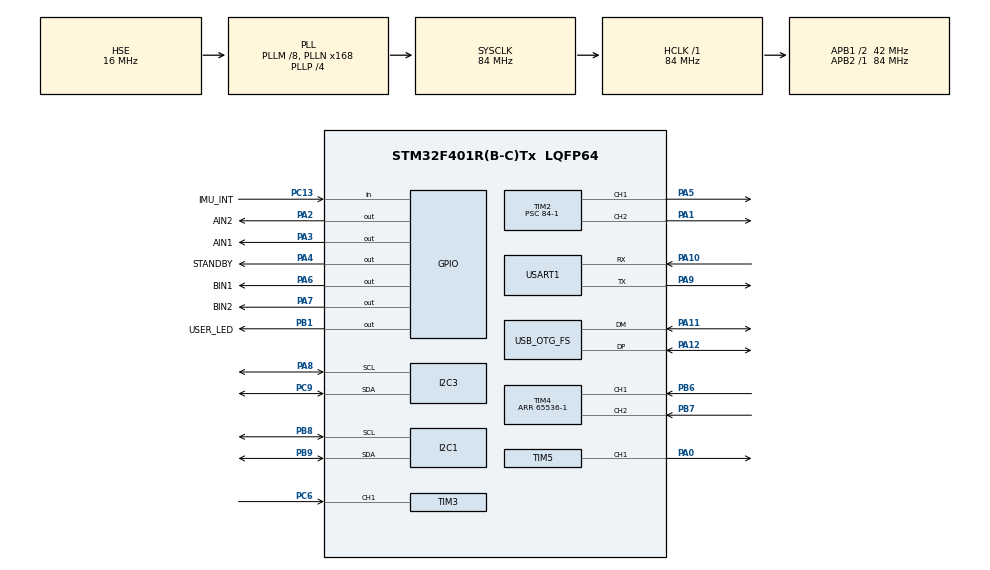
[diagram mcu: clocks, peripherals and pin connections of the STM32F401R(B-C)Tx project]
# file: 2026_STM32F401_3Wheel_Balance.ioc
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Dma.Request0=TIM5_CH1
Dma.TIM5_CH1.0.Direction=DMA_MEMORY_TO_PERIPH
Dma.TIM5_CH1.0.FIFOMode=DMA_FIFOMODE_DISABLE
Dma.TIM5_CH1.0.Instance=DMA1_Stream2
Dma.TIM5_CH1.0.MemDataAlignment=DMA_MDATAALIGN_WORD
Dma.TIM5_CH1.0.MemInc=DMA_MINC_ENABLE
Dma.TIM5_CH1.0.Mode=DMA_NORMAL
Dma.TIM5_CH1.0.PeriphDataAlignment=DMA_PDATAALIGN_WORD
Dma.TIM5_CH1.0.PeriphInc=DMA_PINC_DISABLE
Dma.TIM5_CH1.0.Priority=DMA_PRIORITY_HIGH
Mcu.Family=STM32F4
Mcu.Name=STM32F401R(B-C)Tx
Mcu.Package=LQFP64
NVIC.DMA1_Stream2_IRQn=true\:0\:0\:false\:false\:true\:false\:true\:true
NVIC.PriorityGroup=NVIC_PRIORITYGROUP_4
NVIC.TIM3_IRQn=true\:0\:0\:false\:false\:true\:true\:true\:true
NVIC.USART1_IRQn=true\:0\:0\:false\:false\:true\:true\:true\:true
PA0-WKUP.Signal=S_TIM5_CH1
PA1.Signal=S_TIM2_CH2
PA10.Mode=Asynchronous
PA10.Signal=USART1_RX
PA11.Mode=Device_Only
PA11.Signal=USB_OTG_FS_DM
PA12.Mode=Device_Only
PA12.Signal=USB_OTG_FS_DP
PA13.Mode=Serial_Wire
PA13.Signal=SYS_JTMS-SWDIO
PA14.Mode=Serial_Wire
PA14.Signal=SYS_JTCK-SWCLK
PA2.GPIO_Label=AIN2
PA2.Signal=GPIO_Output
PA3.GPIO_Label=AIN1
PA3.Signal=GPIO_Output
PA4.GPIO_Label=STANDBY
PA4.Signal=GPIO_Output
PA5.Signal=S_TIM2_CH1_ETR
PA6.GPIO_Label=BIN1
PA6.Signal=GPIO_Output
PA7.GPIO_Label=BIN2
PA7.Signal=GPIO_Output
PA8.Mode=I2C
PA8.Signal=I2C3_SCL
PA9.Mode=Asynchronous
PA9.Signal=USART1_TX
PB1.GPIO_Label=USER_LED
PB1.Signal=GPIO_Output
PB6.Signal=S_TIM4_CH1
PB7.Signal=S_TIM4_CH2
PB8.Mode=I2C
PB8.Signal=I2C1_SCL
PB9.Mode=I2C
PB9.Signal=I2C1_SDA
PC13-ANTI_TAMP.GPIO_Label=IMU_INT
PC13-ANTI_TAMP.Signal=GPIO_Input
PC6.Signal=S_TIM3_CH1
PC9.Mode=I2C
PC9.Signal=I2C3_SDA
PH0\ -\ OSC_IN.Mode=HSE-External-Oscillator
PH0\ -\ OSC_IN.Signal=RCC_OSC_IN
PH1\ -\ OSC_OUT.Mode=HSE-External-Oscillator
PH1\ -\ OSC_OUT.Signal=RCC_OSC_OUT
ProjectManager.HeapSize=0x200
ProjectManager.StackSize=0x400
ProjectManager.TargetToolchain=STM32CubeIDE
RCC.48MHZClocksFreq_Value=48000000
RCC.AHBFreq_Value=84000000
RCC.APB1CLKDivider=RCC_HCLK_DIV2
RCC.APB1Freq_Value=42000000
RCC.APB1TimFreq_Value=84000000
RCC.APB2Freq_Value=84000000
RCC.APB2TimFreq_Value=84000000
RCC.CortexFreq_Value=84000000
RCC.HCLKFreq_Value=84000000
RCC.HSE_VALUE=16000000
RCC.HSI_VALUE=16000000
RCC.LSE_VALUE=32768
RCC.PLLM=8
RCC.PLLN=168
RCC.PLLP=RCC_PLLP_DIV4
RCC.PLLQ=7
RCC.SYSCLKFreq_VALUE=84000000
RCC.SYSCLKSource=RCC_SYSCLKSOURCE_PLLCLK
RCC.VCOOutputFreq_Value=336000000
SH.S_TIM2_CH1_ETR.0=TIM2_CH1,PWM Generation1 CH1
SH.S_TIM2_CH2.0=TIM2_CH2,PWM Generation2 CH2
SH.S_TIM3_CH1.0=TIM3_CH1,Input_Capture1_from_TI1
SH.S_TIM4_CH1.0=TIM4_CH1,Encoder_Interface
SH.S_TIM4_CH2.0=TIM4_CH2,Encoder_Interface
SH.S_TIM5_CH1.0=TIM5_CH1,PWM Generation1 CH1
TIM2.Channel-PWM\ Generation1\ CH1=TIM_CHANNEL_1
TIM2.Channel-PWM\ Generation2\ CH2=TIM_CHANNEL_2
TIM2.Period=100-1
TIM2.Prescaler=84-1
TIM3.Channel-Input_Capture1_from_TI1=TIM_CHANNEL_1
TIM3.Period=1000-1
TIM3.Prescaler=8400-1
TIM4.EncoderMode=TIM_ENCODERMODE_TI12
TIM4.IC1Polarity=TIM_ICPOLARITY_FALLING
TIM4.IC2Polarity=TIM_ICPOLARITY_FALLING
TIM4.Period=65536-1
TIM5.Channel-PWM\ Generation1\ CH1=TIM_CHANNEL_1
TIM5.Period=105-1
TIM5.Prescaler=1-1
USART1.VirtualMode=VM_ASYNC
USB_OTG_FS.VirtualMode=Device_Only
board=custom

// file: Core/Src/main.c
/* USER CODE BEGIN Header */
/**
  ******************************************************************************
  * @file           : main.c
  * @brief          : Main program body
  ******************************************************************************
  * @attention
  *
  * Copyright (c) 2026 STMicroelectronics.
  * All rights reserved.
  *
  * This software is licensed under terms that can be found in the LICENSE file
  * in the root directory of this software component.
  * If no LICENSE file comes with this software, it is provided AS-IS.
  *
  ******************************************************************************
  */
/* USER CODE END Header */
#include "main.h"

/* USER CODE BEGIN Includes */
#include <stdio.h>  // snprintf

#include "ENGREDU_WS2812.h"
#include "TJ_MPU6050.h"
#include "ENGREDU_TB6612.h"
#include "ENGREDU_MT6701.h"
/* USER CODE END Includes */

I2C_HandleTypeDef hi2c1;
I2C_HandleTypeDef hi2c3;

TIM_HandleTypeDef htim2;
TIM_HandleTypeDef htim3;
TIM_HandleTypeDef htim4;
TIM_HandleTypeDef htim5;
DMA_HandleTypeDef hdma_tim5_ch1;

UART_HandleTypeDef huart1;

PCD_HandleTypeDef hpcd_USB_OTG_FS;

/* USER CODE BEGIN PV */

uint8_t gTMP = 0;

// Simple Scheduler
uint32_t last_led_tick        = 0; // Timestamp of the last LED toggle for blinking
uint32_t last_telemetry_tick  = 0; // Timestamp of the last telemetry transmission for periodic updates

// UART
uint8_t uart_rx_byte; // Buffer for receiving a single byte over UART
volatile uint8_t gUART_Cmd;

char gTelemetry[64];

// MPU6050 + complementary filter
CompFilter_Def gCompFilter;
uint32_t last_imu_tick = 0;

// TB6612

TB6612_Motor gMotorA = {
		.htim = &htim2, // timer for PWM
		.Channel = TIM_CHANNEL_2,
		.IN1_Port = AIN1_GPIO_Port,
		.IN1_Pin = AIN1_Pin,
		.IN2_Port = AIN2_GPIO_Port,
		.IN2_Pin = AIN2_Pin,
		.STBY_Port = STANDBY_GPIO_Port,
		.STBY_Pin = STANDBY_Pin,
		.Offset = 1
};

TB6612_Motor gMotorB = {
		.htim = &htim2, // timer for PWM
		.Channel = TIM_CHANNEL_1,
		.IN1_Port = BIN1_GPIO_Port,
		.IN1_Pin = BIN1_Pin,
		.IN2_Port = BIN2_GPIO_Port,
		.IN2_Pin = BIN2_Pin,
		.STBY_Port = STANDBY_GPIO_Port,
		.STBY_Pin = STANDBY_Pin,
		.Offset = 1
};

// MT6701
MT6701_Handle encoder;

/* USER CODE END PV */

void SystemClock_Config(void);
static void MX_GPIO_Init(void);
static void MX_DMA_Init(void);
static void MX_I2C1_Init(void);
static void MX_I2C3_Init(void);
static void MX_TIM4_Init(void);
static void MX_TIM5_Init(void);
static void MX_USART1_UART_Init(void);
static void MX_USB_OTG_FS_PCD_Init(void);
static void MX_TIM2_Init(void);
static void MX_TIM3_Init(void);

int main(void)
{

  /* USER CODE BEGIN 1 */
	MPU_ConfigTypeDef myMpuConfig;
  /* USER CODE END 1 */

  /* MCU Configuration--------------------------------------------------------*/

  /* Reset of all peripherals, Initializes the Flash interface and the Systick. */
  HAL_Init();

  /* Configure the system clock */
  SystemClock_Config();

  /* Initialize all configured peripherals */
  MX_GPIO_Init();
  MX_DMA_Init();
  MX_I2C1_Init();
  MX_I2C3_Init();
  MX_TIM4_Init();
  MX_TIM5_Init();
  MX_USART1_UART_Init();
  MX_USB_OTG_FS_PCD_Init();
  MX_TIM2_Init();
  MX_TIM3_Init();
  /* USER CODE BEGIN 2 */

  //1. Initialize the MPU6050 module and I2C1
  MPU6050_Init(&hi2c1);
  //2. Configure Accel and Gyro parameters
  myMpuConfig.Accel_Full_Scale = AFS_SEL_4g;
  myMpuConfig.ClockSource = Internal_8MHz;
  myMpuConfig.CONFIG_DLPF = DLPF_184A_188G_Hz;
  myMpuConfig.Gyro_Full_Scale = FS_SEL_500;
  myMpuConfig.Sleep_Mode_Bit = 0;  //1: sleep mode, 0: normal mode
  MPU6050_Config(&myMpuConfig);
  HAL_Delay(50); // gyro needs ~30 ms to stabilize after power-on
  MPU6050_CompFilter_Init(&gCompFilter, 0.995f);

  // Initialize WS2812 LED strip with TIM5 and set pixel color
  WS2812_Init(&htim5);
  WS2812_SetPixel(30, 30, 30);

  // Start UART reception in interrupt mode for 1 byte
  HAL_UART_Receive_IT(&huart1, &uart_rx_byte, 1);

  // Initialize Motors
  TB6612_Init(&gMotorA);  // the other motor (left)
  TB6612_Init(&gMotorB);  // motor with encoder (right)

  TB6612_Brake(&gMotorA);
  TB6612_Brake(&gMotorB);

  // Initialize Encoder
  //1. Initialize MT6701 with I2C3
  MT6701_Init(&encoder, &hi2c3);
  MT6701_SetZero(&encoder);
  //2. Initialize Timer 3 for Encoder
  HAL_TIM_Base_Start_IT(&htim3);

  /* USER CODE END 2 */

  /* Infinite loop */
  /* USER CODE BEGIN WHILE */
  while (1)
  {
	  // TODO
	  uint32_t now = HAL_GetTick(); // Get the current system tick in milliseconds

	  // Toggle the user LED every 100 ms for a blinking effect
	  if (now - last_led_tick >= 100)
	  {
		  last_led_tick = now;
		  HAL_GPIO_TogglePin(USER_LED_GPIO_Port, USER_LED_Pin);
	  }

	  // Read IMU and run complementary filter at 100 Hz (10 ms)
	  if (now - last_imu_tick >= 10)
	  {
		  float dt = (now - last_imu_tick) * 0.001f;
		  last_imu_tick = now;
		  MPU6050_CompFilter_Update(&gCompFilter, dt);
	  }

	  // Send telemetry data every 100 ms
	  if (now - last_telemetry_tick >= 100)
	  {
		  last_telemetry_tick = now;

	      float speed = encoder.velocity_deg_s;  /* encoder-derived wheel speed */
	      float roll  = gCompFilter.roll;  /* side angle */
	      int16_t pitch = gCompFilter.pitch;  /* front angle */
	      int16_t counter = gTMP;  /* counter */

	      int len = snprintf(gTelemetry, sizeof(gTelemetry),
	                         "$%.2f,%.2f,%d,%d\r\n",
	                         speed, roll, pitch, counter);
	      HAL_UART_Transmit_IT(&huart1, (uint8_t *)gTelemetry, len);

	      gTMP = (gTMP + 1) % 20;
	  }

      if (gUART_Cmd != 0)
      {
          switch (gUART_Cmd)
          {
              case 'w':
            	  WS2812_SetPixel(30, 0, 0);
            	  TB6612_Drive(&gMotorA, 30);
            	  TB6612_Drive(&gMotorB, 30);
            	  break;

              case 's':
            	  WS2812_SetPixel(0, 30, 0);
            	  TB6612_Drive(&gMotorA, -30);
            	  TB6612_Drive(&gMotorB, -30);
            	  break;

              case 'a':
            	  WS2812_SetPixel(0, 0, 30);
            	  TB6612_Drive(&gMotorA, 30);
            	  TB6612_Brake(&gMotorB);
            	  break;

              case 'd':
            	  WS2812_SetPixel(30, 30, 0);
            	  TB6612_Brake(&gMotorA);
            	  TB6612_Drive(&gMotorB, 30);
            	  break;

              case 'x':
            	  WS2812_SetPixel(0, 0, 0);
            	  TB6612_Brake(&gMotorA);
            	  TB6612_Brake(&gMotorB);
            	  break;
          }
          gUART_Cmd = 0;
      }

    /* USER CODE END WHILE */

  }
}

void SystemClock_Config(void)
{
  RCC_OscInitTypeDef RCC_OscInitStruct = {0};
  RCC_ClkInitTypeDef RCC_ClkInitStruct = {0};

  /** Configure the main internal regulator output voltage
  */
  __HAL_RCC_PWR_CLK_ENABLE();
  __HAL_PWR_VOLTAGESCALING_CONFIG(PWR_REGULATOR_VOLTAGE_SCALE2);

  /** Initializes the RCC Oscillators according to the specified parameters
  * in the RCC_OscInitTypeDef structure.
  */
  RCC_OscInitStruct.OscillatorType = RCC_OSCILLATORTYPE_HSE;
  RCC_OscInitStruct.HSEState = RCC_HSE_ON;
  RCC_OscInitStruct.PLL.PLLState = RCC_PLL_ON;
  RCC_OscInitStruct.PLL.PLLSource = RCC_PLLSOURCE_HSE;
  RCC_OscInitStruct.PLL.PLLM = 8;
  RCC_OscInitStruct.PLL.PLLN = 168;
  RCC_OscInitStruct.PLL.PLLP = RCC_PLLP_DIV4;
  RCC_OscInitStruct.PLL.PLLQ = 7;
  if (HAL_RCC_OscConfig(&RCC_OscInitStruct) != HAL_OK)
  {
    Error_Handler();
  }

  /** Initializes the CPU, AHB and APB buses clocks
  */
  RCC_ClkInitStruct.ClockType = RCC_CLOCKTYPE_HCLK|RCC_CLOCKTYPE_SYSCLK
                              |RCC_CLOCKTYPE_PCLK1|RCC_CLOCKTYPE_PCLK2;
  RCC_ClkInitStruct.SYSCLKSource = RCC_SYSCLKSOURCE_PLLCLK;
  RCC_ClkInitStruct.AHBCLKDivider = RCC_SYSCLK_DIV1;
  RCC_ClkInitStruct.APB1CLKDivider = RCC_HCLK_DIV2;
  RCC_ClkInitStruct.APB2CLKDivider = RCC_HCLK_DIV1;

  if (HAL_RCC_ClockConfig(&RCC_ClkInitStruct, FLASH_LATENCY_2) != HAL_OK)
  {
    Error_Handler();
  }
}

static void MX_I2C1_Init(void)
{

  hi2c1.Instance = I2C1;
  hi2c1.Init.ClockSpeed = 100000;
  hi2c1.Init.DutyCycle = I2C_DUTYCYCLE_2;
  hi2c1.Init.OwnAddress1 = 0;
  hi2c1.Init.AddressingMode = I2C_ADDRESSINGMODE_7BIT;
  hi2c1.Init.DualAddressMode = I2C_DUALADDRESS_DISABLE;
  hi2c1.Init.OwnAddress2 = 0;
  hi2c1.Init.GeneralCallMode = I2C_GENERALCALL_DISABLE;
  hi2c1.Init.NoStretchMode = I2C_NOSTRETCH_DISABLE;
  if (HAL_I2C_Init(&hi2c1) != HAL_OK)
  {
    Error_Handler();
  }

}

static void MX_I2C3_Init(void)
{

  hi2c3.Instance = I2C3;
  hi2c3.Init.ClockSpeed = 100000;
  hi2c3.Init.DutyCycle = I2C_DUTYCYCLE_2;
  hi2c3.Init.OwnAddress1 = 0;
  hi2c3.Init.AddressingMode = I2C_ADDRESSINGMODE_7BIT;
  hi2c3.Init.DualAddressMode = I2C_DUALADDRESS_DISABLE;
  hi2c3.Init.OwnAddress2 = 0;
  hi2c3.Init.GeneralCallMode = I2C_GENERALCALL_DISABLE;
  hi2c3.Init.NoStretchMode = I2C_NOSTRETCH_DISABLE;
  if (HAL_I2C_Init(&hi2c3) != HAL_OK)
  {
    Error_Handler();
  }

}

static void MX_TIM2_Init(void)
{

  TIM_MasterConfigTypeDef sMasterConfig = {0};
  TIM_OC_InitTypeDef sConfigOC = {0};

  htim2.Instance = TIM2;
  htim2.Init.Prescaler = 84-1;
  htim2.Init.CounterMode = TIM_COUNTERMODE_UP;
  htim2.Init.Period = 100-1;
  htim2.Init.ClockDivision = TIM_CLOCKDIVISION_DIV1;
  htim2.Init.AutoReloadPreload = TIM_AUTORELOAD_PRELOAD_DISABLE;
  if (HAL_TIM_PWM_Init(&htim2) != HAL_OK)
  {
    Error_Handler();
  }
  sMasterConfig.MasterOutputTrigger = TIM_TRGO_RESET;
  sMasterConfig.MasterSlaveMode = TIM_MASTERSLAVEMODE_DISABLE;
  if (HAL_TIMEx_MasterConfigSynchronization(&htim2, &sMasterConfig) != HAL_OK)
  {
    Error_Handler();
  }
  sConfigOC.OCMode = TIM_OCMODE_PWM1;
  sConfigOC.Pulse = 0;
  sConfigOC.OCPolarity = TIM_OCPOLARITY_HIGH;
  sConfigOC.OCFastMode = TIM_OCFAST_DISABLE;
  if (HAL_TIM_PWM_ConfigChannel(&htim2, &sConfigOC, TIM_CHANNEL_1) != HAL_OK)
  {
    Error_Handler();
  }
  if (HAL_TIM_PWM_ConfigChannel(&htim2, &sConfigOC, TIM_CHANNEL_2) != HAL_OK)
  {
    Error_Handler();
  }
  HAL_TIM_MspPostInit(&htim2);

}

static void MX_TIM3_Init(void)
{

  TIM_MasterConfigTypeDef sMasterConfig = {0};
  TIM_IC_InitTypeDef sConfigIC = {0};

  htim3.Instance = TIM3;
  htim3.Init.Prescaler = 8400-1;
  htim3.Init.CounterMode = TIM_COUNTERMODE_UP;
  htim3.Init.Period = 1000-1;
  htim3.Init.ClockDivision = TIM_CLOCKDIVISION_DIV1;
  htim3.Init.AutoReloadPreload = TIM_AUTORELOAD_PRELOAD_DISABLE;
  if (HAL_TIM_IC_Init(&htim3) != HAL_OK)
  {
    Error_Handler();
  }
  sMasterConfig.MasterOutputTrigger = TIM_TRGO_RESET;
  sMasterConfig.MasterSlaveMode = TIM_MASTERSLAVEMODE_DISABLE;
  if (HAL_TIMEx_MasterConfigSynchronization(&htim3, &sMasterConfig) != HAL_OK)
  {
    Error_Handler();
  }
  sConfigIC.ICPolarity = TIM_INPUTCHANNELPOLARITY_RISING;
  sConfigIC.ICSelection = TIM_ICSELECTION_DIRECTTI;
  sConfigIC.ICPrescaler = TIM_ICPSC_DIV1;
  sConfigIC.ICFilter = 0;
  if (HAL_TIM_IC_ConfigChannel(&htim3, &sConfigIC, TIM_CHANNEL_1) != HAL_OK)
  {
    Error_Handler();
  }

}

static void MX_TIM4_Init(void)
{

  TIM_Encoder_InitTypeDef sConfig = {0};
  TIM_MasterConfigTypeDef sMasterConfig = {0};

  htim4.Instance = TIM4;
  htim4.Init.Prescaler = 0;
  htim4.Init.CounterMode = TIM_COUNTERMODE_UP;
  htim4.Init.Period = 65536-1;
  htim4.Init.ClockDivision = TIM_CLOCKDIVISION_DIV1;
  htim4.Init.AutoReloadPreload = TIM_AUTORELOAD_PRELOAD_DISABLE;
  sConfig.EncoderMode = TIM_ENCODERMODE_TI12;
  sConfig.IC1Polarity = TIM_ICPOLARITY_FALLING;
  sConfig.IC1Selection = TIM_ICSELECTION_DIRECTTI;
  sConfig.IC1Prescaler = TIM_ICPSC_DIV1;
  sConfig.IC1Filter = 0;
  sConfig.IC2Polarity = TIM_ICPOLARITY_FALLING;
  sConfig.IC2Selection = TIM_ICSELECTION_DIRECTTI;
  sConfig.IC2Prescaler = TIM_ICPSC_DIV1;
  sConfig.IC2Filter = 0;
  if (HAL_TIM_Encoder_Init(&htim4, &sConfig) != HAL_OK)
  {
    Error_Handler();
  }
  sMasterConfig.MasterOutputTrigger = TIM_TRGO_RESET;
  sMasterConfig.MasterSlaveMode = TIM_MASTERSLAVEMODE_DISABLE;
  if (HAL_TIMEx_MasterConfigSynchronization(&htim4, &sMasterConfig) != HAL_OK)
  {
    Error_Handler();
  }

}

static void MX_TIM5_Init(void)
{

  TIM_MasterConfigTypeDef sMasterConfig = {0};
  TIM_OC_InitTypeDef sConfigOC = {0};

  htim5.Instance = TIM5;
  htim5.Init.Prescaler = 1-1;
  htim5.Init.CounterMode = TIM_COUNTERMODE_UP;
  htim5.Init.Period = 105-1;
  htim5.Init.ClockDivision = TIM_CLOCKDIVISION_DIV1;
  htim5.Init.AutoReloadPreload = TIM_AUTORELOAD_PRELOAD_DISABLE;
  if (HAL_TIM_PWM_Init(&htim5) != HAL_OK)
  {
    Error_Handler();
  }
  sMasterConfig.MasterOutputTrigger = TIM_TRGO_RESET;
  sMasterConfig.MasterSlaveMode = TIM_MASTERSLAVEMODE_DISABLE;
  if (HAL_TIMEx_MasterConfigSynchronization(&htim5, &sMasterConfig) != HAL_OK)
  {
    Error_Handler();
  }
  sConfigOC.OCMode = TIM_OCMODE_PWM1;
  sConfigOC.Pulse = 0;
  sConfigOC.OCPolarity = TIM_OCPOLARITY_HIGH;
  sConfigOC.OCFastMode = TIM_OCFAST_DISABLE;
  if (HAL_TIM_PWM_ConfigChannel(&htim5, &sConfigOC, TIM_CHANNEL_1) != HAL_OK)
  {
    Error_Handler();
  }
  HAL_TIM_MspPostInit(&htim5);

}

static void MX_USART1_UART_Init(void)
{

  huart1.Instance = USART1;
  huart1.Init.BaudRate = 115200;
  huart1.Init.WordLength = UART_WORDLENGTH_8B;
  huart1.Init.StopBits = UART_STOPBITS_1;
  huart1.Init.Parity = UART_PARITY_NONE;
  huart1.Init.Mode = UART_MODE_TX_RX;
  huart1.Init.HwFlowCtl = UART_HWCONTROL_NONE;
  huart1.Init.OverSampling = UART_OVERSAMPLING_16;
  if (HAL_UART_Init(&huart1) != HAL_OK)
  {
    Error_Handler();
  }

}

static void MX_USB_OTG_FS_PCD_Init(void)
{

  hpcd_USB_OTG_FS.Instance = USB_OTG_FS;
  hpcd_USB_OTG_FS.Init.dev_endpoints = 4;
  hpcd_USB_OTG_FS.Init.speed = PCD_SPEED_FULL;
  hpcd_USB_OTG_FS.Init.dma_enable = DISABLE;
  hpcd_USB_OTG_FS.Init.phy_itface = PCD_PHY_EMBEDDED;
  hpcd_USB_OTG_FS.Init.Sof_enable = DISABLE;
  hpcd_USB_OTG_FS.Init.low_power_enable = DISABLE;
  hpcd_USB_OTG_FS.Init.lpm_enable = DISABLE;
  hpcd_USB_OTG_FS.Init.vbus_sensing_enable = DISABLE;
  hpcd_USB_OTG_FS.Init.use_dedicated_ep1 = DISABLE;
  if (HAL_PCD_Init(&hpcd_USB_OTG_FS) != HAL_OK)
  {
    Error_Handler();
  }

}

static void MX_DMA_Init(void)
{

  /* DMA controller clock enable */
  __HAL_RCC_DMA1_CLK_ENABLE();

  /* DMA interrupt init */
  /* DMA1_Stream2_IRQn interrupt configuration */
  HAL_NVIC_SetPriority(DMA1_Stream2_IRQn, 0, 0);
  HAL_NVIC_EnableIRQ(DMA1_Stream2_IRQn);

}

static void MX_GPIO_Init(void)
{
  GPIO_InitTypeDef GPIO_InitStruct = {0};

  /* GPIO Ports Clock Enable */
  __HAL_RCC_GPIOC_CLK_ENABLE();
  __HAL_RCC_GPIOH_CLK_ENABLE();
  __HAL_RCC_GPIOA_CLK_ENABLE();
  __HAL_RCC_GPIOB_CLK_ENABLE();

  /*Configure GPIO pin Output Level */
  HAL_GPIO_WritePin(GPIOA, AIN2_Pin|AIN1_Pin|STANDBY_Pin|BIN1_Pin
                          |BIN2_Pin, GPIO_PIN_RESET);

  /*Configure GPIO pin Output Level */
  HAL_GPIO_WritePin(USER_LED_GPIO_Port, USER_LED_Pin, GPIO_PIN_RESET);

  /*Configure GPIO pin : IMU_INT_Pin */
  GPIO_InitStruct.Pin = IMU_INT_Pin;
  GPIO_InitStruct.Mode = GPIO_MODE_INPUT;
  GPIO_InitStruct.Pull = GPIO_NOPULL;
  HAL_GPIO_Init(IMU_INT_GPIO_Port, &GPIO_InitStruct);

  /*Configure GPIO pins : AIN2_Pin AIN1_Pin STANDBY_Pin BIN1_Pin
                           BIN2_Pin */
  GPIO_InitStruct.Pin = AIN2_Pin|AIN1_Pin|STANDBY_Pin|BIN1_Pin
                          |BIN2_Pin;
  GPIO_InitStruct.Mode = GPIO_MODE_OUTPUT_PP;
  GPIO_InitStruct.Pull = GPIO_NOPULL;
  GPIO_InitStruct.Speed = GPIO_SPEED_FREQ_LOW;
  HAL_GPIO_Init(GPIOA, &GPIO_InitStruct);

  /*Configure GPIO pin : USER_LED_Pin */
  GPIO_InitStruct.Pin = USER_LED_Pin;
  GPIO_InitStruct.Mode = GPIO_MODE_OUTPUT_PP;
  GPIO_InitStruct.Pull = GPIO_NOPULL;
  GPIO_InitStruct.Speed = GPIO_SPEED_FREQ_LOW;
  HAL_GPIO_Init(USER_LED_GPIO_Port, &GPIO_InitStruct);

}

/* USER CODE BEGIN 4 */

// TODO
void HAL_TIM_PWM_PulseFinishedCallback(TIM_HandleTypeDef *htim)
{
    HAL_TIM_PWM_Stop_DMA(htim, TIM_CHANNEL_1);  // WS2812 DMA -> Timer5
}

// UART receive complete callback function to control the robot based on received byte
void HAL_UART_RxCpltCallback(UART_HandleTypeDef *huart)
{
    if (huart->Instance == USART1)
    {
    	gUART_Cmd = uart_rx_byte;
        HAL_UART_Receive_IT(&huart1, &uart_rx_byte, 1);
    }
}

// Re-arm RX IT after any UART error (e.g. overrun) so reception never dies
void HAL_UART_ErrorCallback(UART_HandleTypeDef *huart)
{
    if (huart->Instance == USART1)
    {
        HAL_UART_Receive_IT(&huart1, &uart_rx_byte, 1);
    }
}

void HAL_TIM_PeriodElapsedCallback(TIM_HandleTypeDef *htim){
	if(htim->Instance == TIM3){
		// Update Encoder
		float dt = 0.1f;  // 10Hz
		MT6701_Update(&encoder, dt);
	}
}

/* USER CODE END 4 */

void Error_Handler(void)
{
  __disable_irq();
  while (1)
  {
  }
}
